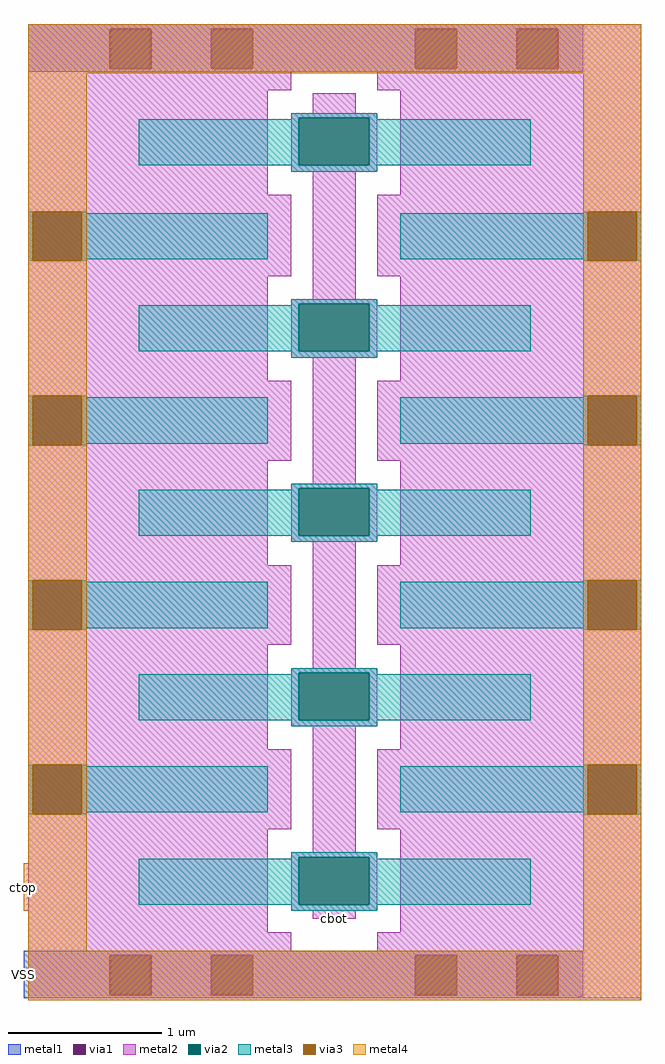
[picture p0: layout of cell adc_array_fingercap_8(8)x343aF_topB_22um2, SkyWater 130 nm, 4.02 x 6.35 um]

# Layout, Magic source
magic
tech sky130A
<< metal1 >>
rect 172 632 533 635
rect 172 606 225 632
rect 252 606 291 632
rect 318 606 424 632
rect 451 606 490 632
rect 517 606 533 632
rect 172 604 533 606
rect 169 29 533 32
rect 169 3 225 29
rect 252 3 291 29
rect 318 3 424 29
rect 451 3 490 29
rect 517 3 533 29
rect 169 2 533 3
rect 169 1 530 2
<< via1 >>
rect 225 606 252 632
rect 291 606 318 632
rect 424 606 451 632
rect 490 606 517 632
rect 225 3 252 29
rect 291 3 318 29
rect 424 3 451 29
rect 490 3 517 29
<< metal2 >>
rect 172 632 571 635
rect 172 606 225 632
rect 252 606 291 632
rect 318 606 424 632
rect 451 606 490 632
rect 517 606 571 632
rect 172 604 571 606
rect 172 592 343 604
rect 399 592 571 604
rect 172 524 328 592
rect 357 577 385 590
rect 343 574 399 577
rect 343 543 348 574
rect 394 543 399 574
rect 343 539 399 543
rect 172 471 343 524
rect 172 403 328 471
rect 357 456 385 539
rect 414 524 571 592
rect 399 471 571 524
rect 343 453 399 456
rect 343 422 348 453
rect 394 422 399 453
rect 343 418 399 422
rect 172 351 343 403
rect 172 283 328 351
rect 357 336 385 418
rect 414 403 571 471
rect 399 351 571 403
rect 343 333 399 336
rect 343 302 348 333
rect 394 302 399 333
rect 343 298 399 302
rect 172 231 343 283
rect 172 163 328 231
rect 357 216 385 298
rect 414 283 571 351
rect 399 231 571 283
rect 343 213 399 216
rect 343 182 348 213
rect 394 182 399 213
rect 343 178 399 182
rect 172 111 343 163
rect 172 44 328 111
rect 357 96 385 178
rect 414 163 571 231
rect 399 111 571 163
rect 343 93 399 96
rect 343 62 348 93
rect 394 62 399 93
rect 343 58 399 62
rect 357 53 385 58
rect 414 44 571 111
rect 172 32 343 44
rect 399 32 571 44
rect 172 29 571 32
rect 172 3 225 29
rect 252 3 291 29
rect 318 3 424 29
rect 451 3 490 29
rect 517 3 571 29
rect 172 1 571 3
<< via2 >>
rect 348 543 394 574
rect 348 422 394 453
rect 348 302 394 333
rect 348 182 394 213
rect 348 62 394 93
<< metal3 >>
rect 343 574 399 577
rect 343 573 348 574
rect 244 543 348 573
rect 394 573 399 574
rect 394 543 499 573
rect 343 539 399 543
rect 172 481 175 513
rect 207 512 210 513
rect 533 512 536 513
rect 207 482 328 512
rect 414 482 536 512
rect 207 481 210 482
rect 533 481 536 482
rect 568 481 571 513
rect 343 453 399 456
rect 343 452 348 453
rect 244 422 348 452
rect 394 452 399 453
rect 394 422 499 452
rect 343 418 399 422
rect 172 361 175 393
rect 207 392 210 393
rect 533 392 536 393
rect 207 362 328 392
rect 414 362 536 392
rect 207 361 210 362
rect 533 361 536 362
rect 568 361 571 393
rect 343 333 399 336
rect 343 332 348 333
rect 244 302 348 332
rect 394 332 399 333
rect 394 302 499 332
rect 343 298 399 302
rect 172 241 175 273
rect 207 272 210 273
rect 533 272 536 273
rect 207 242 328 272
rect 414 242 536 272
rect 207 241 210 242
rect 533 241 536 242
rect 568 241 571 273
rect 343 213 399 216
rect 343 212 348 213
rect 244 182 348 212
rect 394 212 399 213
rect 394 182 499 212
rect 343 178 399 182
rect 172 121 175 153
rect 207 152 210 153
rect 533 152 536 153
rect 207 122 328 152
rect 414 122 536 152
rect 207 121 210 122
rect 533 121 536 122
rect 568 121 571 153
rect 343 93 399 96
rect 343 92 348 93
rect 244 62 348 92
rect 394 92 399 93
rect 394 62 499 92
rect 343 58 399 62
<< via3 >>
rect 175 481 207 513
rect 536 481 568 513
rect 175 361 207 393
rect 536 361 568 393
rect 175 241 207 273
rect 536 241 568 273
rect 175 121 207 153
rect 536 121 568 153
<< metal4 >>
rect 172 603 571 635
rect 172 513 210 603
rect 172 481 175 513
rect 207 481 210 513
rect 172 393 210 481
rect 172 361 175 393
rect 207 361 210 393
rect 172 273 210 361
rect 172 241 175 273
rect 207 241 210 273
rect 172 153 210 241
rect 172 121 175 153
rect 207 121 210 153
rect 172 89 210 121
rect 169 58 210 89
rect 172 32 210 58
rect 533 513 571 603
rect 533 481 536 513
rect 568 481 571 513
rect 533 393 571 481
rect 533 361 536 393
rect 568 361 571 393
rect 533 273 571 361
rect 533 241 536 273
rect 568 241 571 273
rect 533 153 571 241
rect 533 121 536 153
rect 568 121 571 153
rect 533 32 571 121
rect 172 0 571 32
<< labels >>
rlabel metal2 357 53 385 53 1 cbot
rlabel metal4 169 58 169 89 7 ctop
rlabel metal1 169 1 169 32 3 VSS
<< end >>
